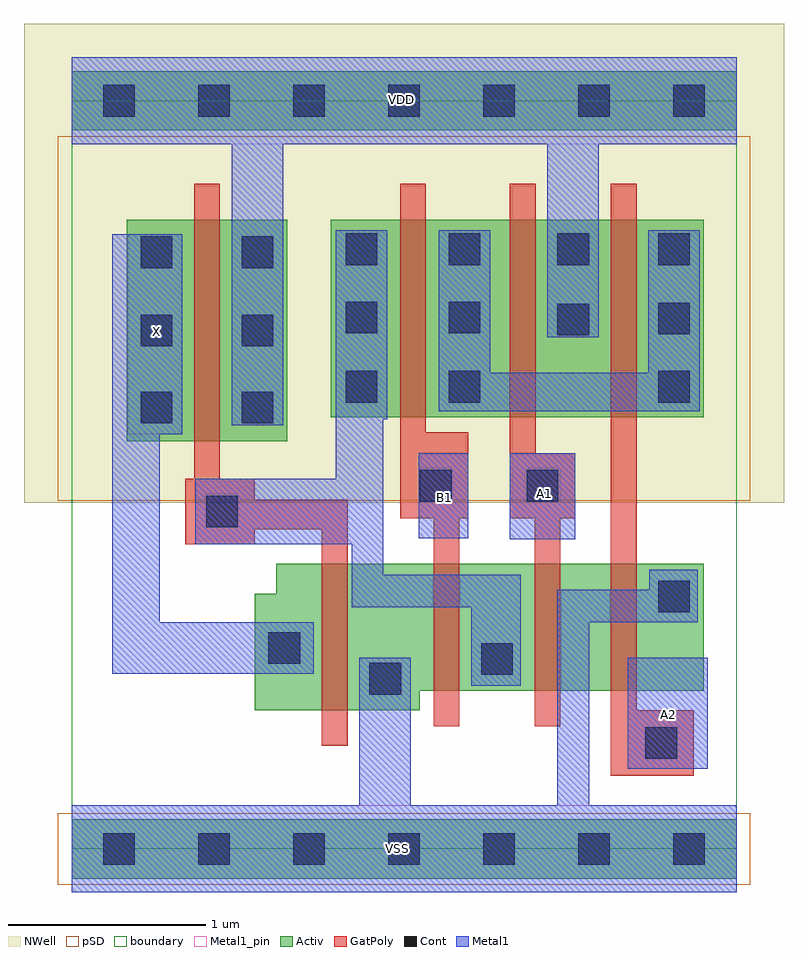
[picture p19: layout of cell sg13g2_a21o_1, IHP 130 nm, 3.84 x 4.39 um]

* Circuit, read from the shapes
.subckt sg13g2_a21o_1 A1 A2 B1 VDD VSS X
XM1 VSS n1 X VSS sg13_lv_nmos w=0.74u l=0.13u
XM2 n1 B1 VSS VSS sg13_lv_nmos w=0.64u l=0.13u
XM3 n2 A1 n1 VSS sg13_lv_nmos w=0.64u l=0.13u
XM4 VSS A2 n2 VSS sg13_lv_nmos w=0.64u l=0.13u
XM5 VDD n1 X VDD sg13_lv_pmos w=1.12u l=0.13u
XM6 n3 B1 n1 VDD sg13_lv_pmos w=1u l=0.13u
XM7 VDD A1 n3 VDD sg13_lv_pmos w=1u l=0.13u
XM8 n3 A2 VDD VDD sg13_lv_pmos w=1u l=0.13u
.ends

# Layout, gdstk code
import gdstk
lib = gdstk.Library(unit=1e-6, precision=1e-09)
def R(c, l, rs):  # rectangles x0, y0, x1, y1
    for r in rs: c.add(gdstk.rectangle(r[:2], r[2:], *l))
def A(c, l, x, y, w, h, nx, ny, dx, dy):  # array of equal rectangles
    R(c, l, [(x+i*dx, y+j*dy, x+i*dx+w, y+j*dy+h) for i in range(nx) for j in range(ny)])
def P(c, l, *ps):  # polygons
    for p in ps: c.add(gdstk.Polygon(p, *l))
Activ = (1, 0)
GatPoly = (5, 0)
Cont = (6, 0)
Metal1 = (8, 0)
Metal1_pin = (8, 2)
pSD = (14, 0)
NWell = (31, 0)
boundary = (189, 4)

sg13g2_a21o_1 = lib.new_cell('sg13g2_a21o_1')
R(sg13g2_a21o_1, Activ, [(0,-0.15,3.36,0.15), (0.28,2.06,1.09,3.18), (1.31,2.18,3.195,3.18), (0,3.63,3.36,3.93)])
P(sg13g2_a21o_1, Activ, [(3.195,1.44),(1.035,1.44),(1.035,1.29),(0.925,1.29),(0.925,0.7),(1.76,0.7),(1.76,0.8),(3.195,0.8)])
P(sg13g2_a21o_1, GatPoly, [(1.395,1.765),(0.925,1.765),(0.925,1.87),(0.75,1.87),(0.75,3.36),(0.62,3.36),(0.62,1.87),(0.575,1.87),(0.575,1.54),(0.925,1.54),(0.925,1.615),(1.265,1.615),(1.265,0.52),(1.395,0.52)],
  [(2.005,2.105),(1.79,2.105),(1.79,3.36),(1.66,3.36),(1.66,1.67),(1.83,1.67),(1.83,0.62),(1.96,0.62),(1.96,1.67),(2.005,1.67)],
  [(2.545,2),(2.345,2),(2.345,3.36),(2.215,3.36),(2.215,1.67),(2.34,1.67),(2.34,0.62),(2.47,0.62),(2.47,1.67),(2.545,1.67)],
  [(3.145,0.7),(2.855,0.7),(2.855,3.36),(2.725,3.36),(2.725,0.37),(3.145,0.37)])
A(sg13g2_a21o_1, Cont, 0.16, -0.08, 0.16, 0.16, 7, 2, 0.48, 3.78)
R(sg13g2_a21o_1, Cont, [(2.9,0.455,3.06,0.615), (1.505,0.78,1.665,0.94), (2.07,0.88,2.23,1.04), (0.995,0.935,1.155,1.095), (2.965,1.195,3.125,1.355), (0.68,1.625,0.84,1.785), (1.76,1.755,1.92,1.915), (2.3,1.755,2.46,1.915), (0.35,2.15,0.51,2.31), (0.86,2.15,1.02,2.31), (1.385,2.255,1.545,2.415), (1.905,2.255,2.065,2.415), (2.965,2.255,3.125,2.415), (0.35,2.54,0.51,2.7), (0.86,2.54,1.02,2.7), (2.455,2.595,2.615,2.755), (2.965,2.6,3.125,2.76), (1.385,2.605,1.545,2.765), (1.905,2.605,2.065,2.765), (0.35,2.935,0.51,3.095), (0.86,2.935,1.02,3.095), (1.385,2.95,1.545,3.11), (1.905,2.95,2.065,3.11), (2.455,2.95,2.615,3.11), (2.965,2.95,3.125,3.11)])
R(sg13g2_a21o_1, Metal1, [(2.81,0.405,3.215,0.965), (2.215,1.565,2.545,2), (1.755,1.57,2.005,2)])
P(sg13g2_a21o_1, Metal1, [(1.225,1.145),(0.445,1.145),(0.445,2.095),(0.56,2.095),(0.56,3.105),(0.205,3.105),(0.205,0.885),(1.225,0.885)],
  [(2.27,1.385),(1.575,1.385),(1.575,2.17),(1.595,2.17),(1.595,3.125),(1.335,3.125),(1.335,1.87),(0.625,1.87),(0.625,1.54),(1.415,1.54),(1.415,1.22),(2.02,1.22),(2.02,0.825),(2.27,0.825)],
  [(3.175,3.125),(2.915,3.125),(2.915,2.405),(2.115,2.405),(2.115,3.125),(1.855,3.125),(1.855,2.21),(3.175,2.21)],
  [(3.36,4),(0,4),(0,3.56),(0.81,3.56),(0.81,2.14),(1.07,2.14),(1.07,3.56),(2.405,3.56),(2.405,2.585),(2.665,2.585),(2.665,3.56),(3.36,3.56)],
  [(3.36,0.22),(2.615,0.22),(2.615,1.145),(3.165,1.145),(3.165,1.41),(2.92,1.41),(2.92,1.31),(2.455,1.31),(2.455,0.22),(1.715,0.22),(1.715,0.965),(1.455,0.965),(1.455,0.22),(0,0.22),(0,-0.22),(3.36,-0.22)])
R(sg13g2_a21o_1, Metal1_pin, [(0,-0.22,3.36,0.22), (2.81,0.405,3.215,0.965), (2.215,1.565,2.545,2), (1.755,1.57,2.005,2), (0.285,2.095,0.56,3.105), (0,3.56,3.36,4)])
R(sg13g2_a21o_1, pSD, [(-0.07,-0.18,3.43,0.18), (-0.07,1.76,3.43,3.6)])
R(sg13g2_a21o_1, NWell, [(-0.24,1.75,3.6,4.17)])
R(sg13g2_a21o_1, boundary, [(0,0,3.36,3.78)])
sg13g2_a21o_1.add(gdstk.Label('B1', (1.885,1.775), layer=8, texttype=25))
sg13g2_a21o_1.add(gdstk.Label('X', (0.43,2.615), layer=8, texttype=25))
sg13g2_a21o_1.add(gdstk.Label('VDD', (1.665,3.785), layer=8, texttype=25))
sg13g2_a21o_1.add(gdstk.Label('VSS', (1.645,0), layer=8, texttype=25))
sg13g2_a21o_1.add(gdstk.Label('A1', (2.39,1.795), layer=8, texttype=25))
sg13g2_a21o_1.add(gdstk.Label('A2', (3.015,0.68), layer=8, texttype=25))

lib.write_gds('sg13g2_a21o_1.gds')
